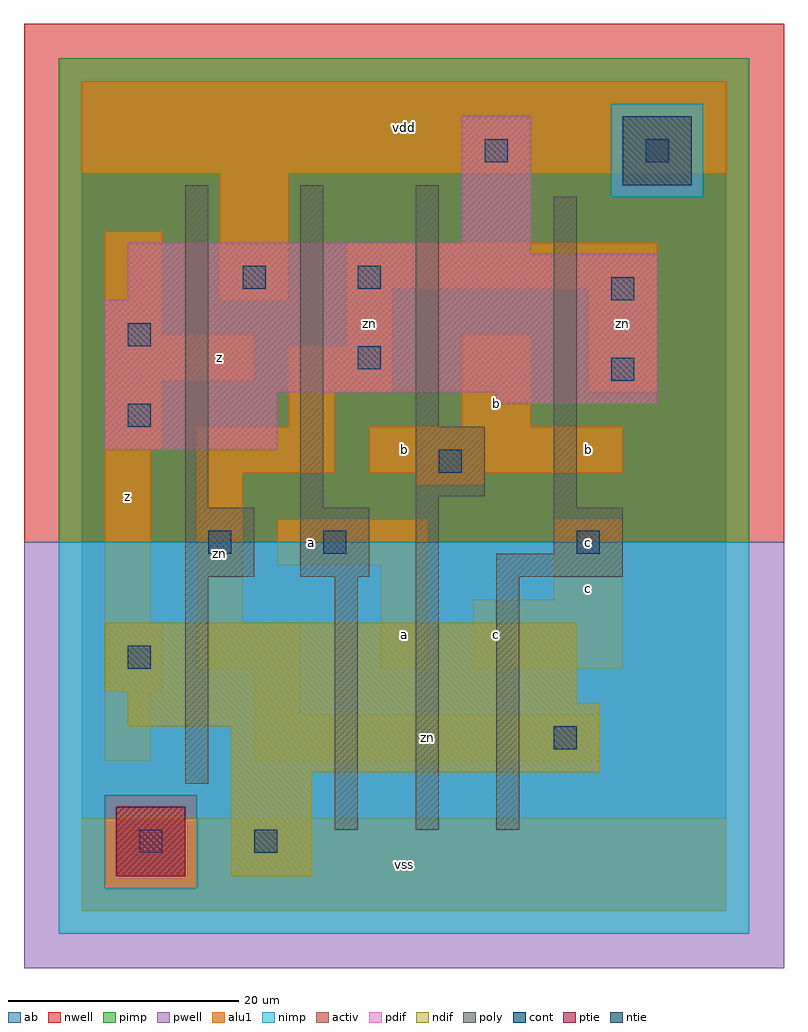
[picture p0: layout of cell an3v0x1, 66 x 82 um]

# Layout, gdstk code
import gdstk
lib = gdstk.Library(unit=1e-6, precision=1e-09)
def R(c, l, rs):  # rectangles x0, y0, x1, y1
    for r in rs: c.add(gdstk.rectangle(r[:2], r[2:], *l))
ndif = (3, 0)
pdif = (4, 0)
ntie = (5, 0)
ptie = (6, 0)
cont = (25, 0)
pwell = (41, 0)
nwell = (42, 0)
activ = (43, 0)
pimp = (44, 0)
nimp = (45, 0)
poly = (46, 0)
alu1 = (49, 0)
ab = (63, 0)

an3v0x1 = lib.new_cell('an3v0x1')
R(an3v0x1, ndif, [(13,3,20,12), (13,12,45,16), (4,16,45,18), (4,18,43,19), (2,19,43,25)])
R(an3v0x1, pdif, [(2,40,17,45), (36,44,50,45), (2,45,50,53), (4,53,50,57), (4,57,39,58), (33,58,39,69)])
R(an3v0x1, ntie, [(47,63,53,69)])
R(an3v0x1, ptie, [(3,3,9,9)])
R(an3v0x1, cont, [(5,5,7,7), (15,5,17,7), (41,14,43,16), (4,21,6,23), (11,31,13,33), (21,31,23,33), (43,31,45,33), (31,38,33,40), (4,42,6,44), (46,46,48,48), (24,47,26,49), (4,49,6,51), (46,53,48,55), (14,54,16,56), (24,54,26,56), (35,65,37,67), (49,65,51,67)])
R(an3v0x1, pwell, [(-5,-5,61,32)])
R(an3v0x1, nwell, [(-5,32,61,77)])
R(an3v0x1, activ, [(3,3,9,9), (13,3,20,12), (13,12,45,16), (4,16,45,18), (4,18,43,19), (2,19,43,25), (2,40,17,45), (36,44,50,45), (2,45,50,53), (4,53,50,57), (4,57,39,58), (33,58,39,69), (47,63,53,69)])
R(an3v0x1, pimp, [(2,2,10,10), (-2,32,58,62), (-2,62,46,70), (54,62,58,70), (-2,70,58,74)])
R(an3v0x1, nimp, [(-2,-2,58,2), (-2,2,2,10), (10,2,58,10), (-2,10,58,32), (46,62,54,70)])
R(an3v0x1, poly, [(22,7,24,29), (29,7,31,36), (36,7,38,29), (9,11,11,29), (9,29,15,35), (19,29,25,35), (36,29,47,31), (41,31,47,35), (9,35,11,63), (19,35,21,63), (41,35,43,62), (29,36,35,42), (29,42,31,63)])
R(an3v0x1, alu1, [(0,0,56,8), (2,13,6,19), (15,13,45,17), (15,17,19,21), (2,19,7,25), (10,21,19,25), (26,21,30,30), (34,21,47,27), (2,25,6,40), (10,25,14,38), (41,27,47,34), (17,30,30,34), (29,37,35,38), (10,38,22,42), (25,38,47,42), (2,40,7,46), (18,42,22,45), (33,42,39,50), (18,45,27,49), (44,45,50,54), (2,46,15,50), (23,49,27,54), (2,50,7,59), (12,53,18,64), (23,54,50,58), (0,64,56,72)])
R(an3v0x1, ab, [(0,0,56,72)])
an3v0x1.add(gdstk.Label('zn', (12,31), layer=49, texttype=0))
an3v0x1.add(gdstk.Label('zn', (25,51), layer=49, texttype=0))
an3v0x1.add(gdstk.Label('zn', (30,15), layer=49, texttype=0))
an3v0x1.add(gdstk.Label('zn', (47,51), layer=49, texttype=0))
an3v0x1.add(gdstk.Label('z', (4,36), layer=49, texttype=0))
an3v0x1.add(gdstk.Label('a', (20,32), layer=49, texttype=0))
an3v0x1.add(gdstk.Label('z', (12,48), layer=49, texttype=0))
an3v0x1.add(gdstk.Label('vss', (28,4), layer=49, texttype=0))
an3v0x1.add(gdstk.Label('a', (28,24), layer=49, texttype=0))
an3v0x1.add(gdstk.Label('c', (36,24), layer=49, texttype=0))
an3v0x1.add(gdstk.Label('b', (28,40), layer=49, texttype=0))
an3v0x1.add(gdstk.Label('b', (36,44), layer=49, texttype=0))
an3v0x1.add(gdstk.Label('vdd', (28,68), layer=49, texttype=0))
an3v0x1.add(gdstk.Label('c', (44,28), layer=49, texttype=0))
an3v0x1.add(gdstk.Label('c', (44,32), layer=49, texttype=0))
an3v0x1.add(gdstk.Label('b', (44,40), layer=49, texttype=0))

lib.write_gds('an3v0x1.gds')
